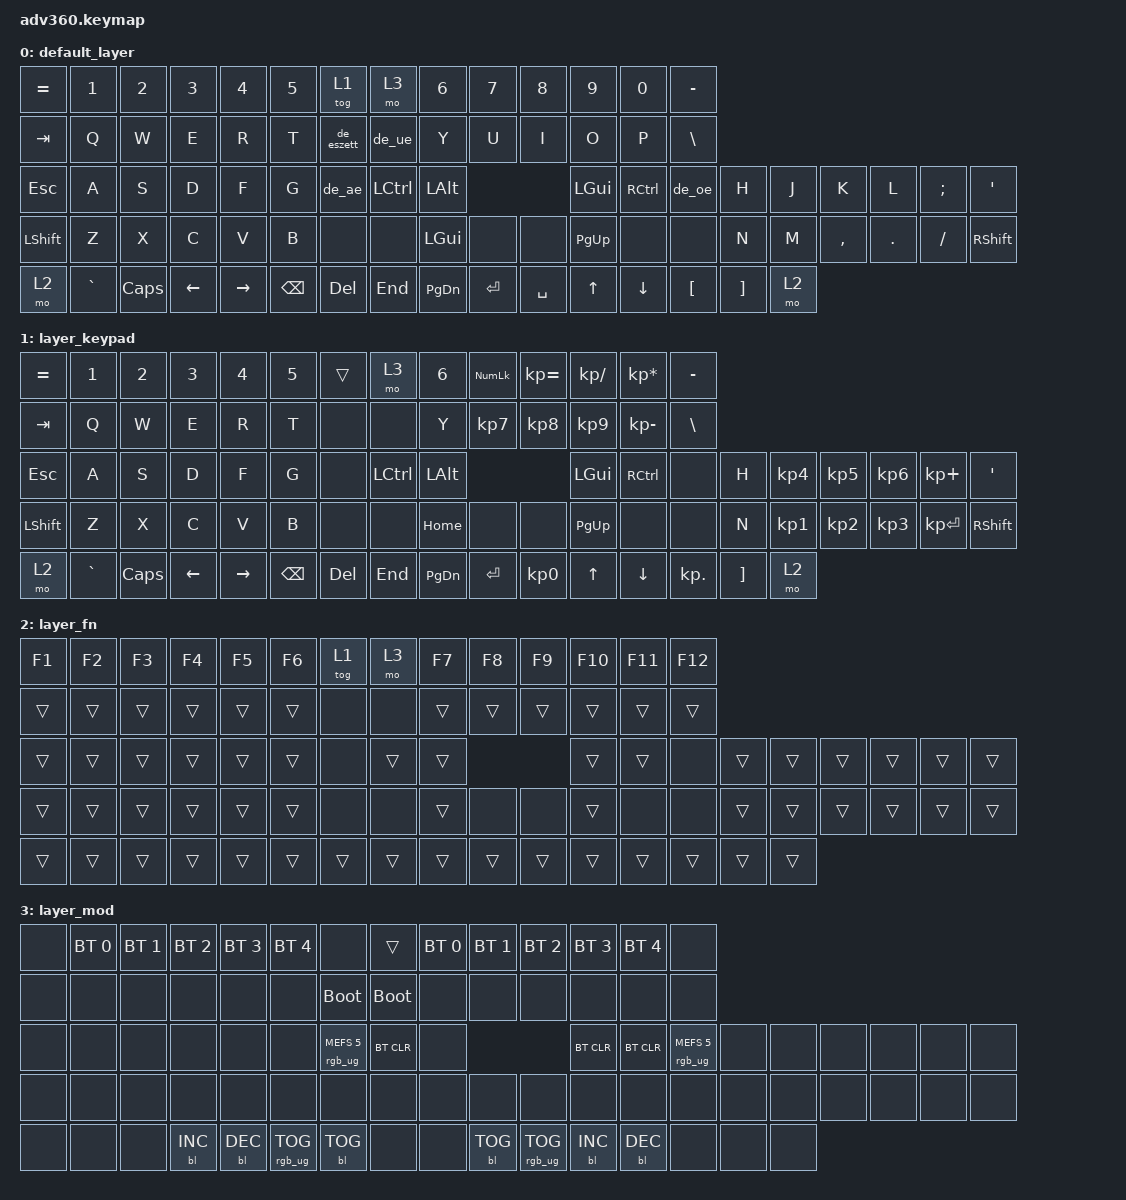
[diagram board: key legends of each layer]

/*
 * Copyright (c) 2020 The ZMK Contributors
 *
 * SPDX-License-Identifier: MIT
 */


/* THIS FILE WAS GENERATED!
 *
 * This file was generated automatically. You may or may not want to
 * edit it directly.
 */

#include <behaviors.dtsi>
#include <dt-bindings/zmk/keys.h>
#include <dt-bindings/zmk/bt.h>
#include <dt-bindings/zmk/rgb.h>
#include <dt-bindings/zmk/backlight.h>
#define HOST_OS 2
#include "zmk-nodefree-config-main/helper.h"

#define ___ &trans

#define DEF 0  // layer shortcuts, must match order in which they are defined below
#define KEY 1
#define FN  2
#define MOD 3


/* custom behaviors */

// homerow mods
ZMK_BEHAVIOR(hm, hold_tap,
    flavor = "tap-preferred";
    tapping-term-ms = <200>;
    quick-tap-ms = <175>;
    global-quick-tap;
    bindings = <&kp>, <&kp>;
)
ZMK_UNICODE_PAIR( de_ae,   N0, N0,  E, N4,   N0, N0,  C, N4 )
ZMK_UNICODE_PAIR( de_oe,   N0, N0,  F, N6,   N0, N0,  D, N6 )
ZMK_UNICODE_PAIR( de_ue,   N0, N0,  F,  C,   N0, N0,  D,  C )
ZMK_UNICODE_SINGLE( de_eszett,  N0, N0,  D,  F)

/* keymap */


ZMK_LAYER(default_layer,
 &kp EQUAL     &kp N1    &kp N2    &kp N3     &kp N4    &kp N5             &tog 1      &mo 3     &kp N6     &kp N7     &kp N8     &kp N9     &kp N0  &kp MINUS
   &kp TAB      &kp Q     &kp W     &kp E      &kp R     &kp T              &de_eszett      &de_ue      &kp Y      &kp U      &kp I      &kp O      &kp P   &kp BSLH
   &kp ESC      &kp A     &kp S     &kp D      &kp F     &kp G              &de_ae  &kp LCTRL   &kp LALT                         &kp LGUI  &kp RCTRL      &de_oe     &kp H   &kp J      &kp K    &kp L  &kp SEMI    &kp SQT
 &kp LSHFT      &kp Z     &kp X     &kp C      &kp V     &kp B              &none      &none   &kp LGUI      &none      &none  &kp PG_UP      &none      &none     &kp N   &kp M  &kp COMMA  &kp DOT  &kp FSLH  &kp RSHFT
     &mo 2  &kp GRAVE  &kp CAPS  &kp LEFT  &kp RIGHT  &kp BSPC            &kp DEL    &kp END  &kp PG_DN  &kp ENTER  &kp SPACE     &kp UP   &kp DOWN   &kp LBKT  &kp RBKT   &mo 2
)

ZMK_LAYER(layer_keypad,
 &kp EQUAL     &kp N1    &kp N2    &kp N3     &kp N4    &kp N5             &trans      &mo 3     &kp N6  &kp KP_NUM  &kp KP_EQUAL  &kp KP_DIVIDE  &kp KP_MULTIPLY   &kp MINUS
   &kp TAB      &kp Q     &kp W     &kp E      &kp R     &kp T              &none      &none      &kp Y   &kp KP_N7     &kp KP_N8      &kp KP_N9     &kp KP_MINUS    &kp BSLH
   &kp ESC      &kp A     &kp S     &kp D      &kp F     &kp G              &none  &kp LCTRL   &kp LALT                                 &kp LGUI        &kp RCTRL       &none     &kp H  &kp KP_N4  &kp KP_N5  &kp KP_N6   &kp KP_PLUS    &kp SQT
 &kp LSHFT      &kp Z     &kp X     &kp C      &kp V     &kp B              &none      &none   &kp HOME       &none         &none      &kp PG_UP            &none       &none     &kp N  &kp KP_N1  &kp KP_N2  &kp KP_N3  &kp KP_ENTER  &kp RSHFT
     &mo 2  &kp GRAVE  &kp CAPS  &kp LEFT  &kp RIGHT  &kp BSPC            &kp DEL    &kp END  &kp PG_DN   &kp ENTER     &kp KP_N0         &kp UP         &kp DOWN  &kp KP_DOT  &kp RBKT      &mo 2
)

ZMK_LAYER(layer_fn,
 &kp F1  &kp F2  &kp F3  &kp F4  &kp F5  &kp F6            &tog 1   &mo 3  &kp F7  &kp F8  &kp F9  &kp F10  &kp F11  &kp F12
 &trans  &trans  &trans  &trans  &trans  &trans             &none   &none  &trans  &trans  &trans   &trans   &trans   &trans
 &trans  &trans  &trans  &trans  &trans  &trans             &none  &trans  &trans                   &trans   &trans    &none  &trans  &trans  &trans  &trans  &trans  &trans
 &trans  &trans  &trans  &trans  &trans  &trans             &none   &none  &trans   &none   &none   &trans    &none    &none  &trans  &trans  &trans  &trans  &trans  &trans
 &trans  &trans  &trans  &trans  &trans  &trans            &trans  &trans  &trans  &trans  &trans   &trans   &trans   &trans  &trans  &trans
)

ZMK_LAYER(layer_mod,
  &none  &bt BT_SEL 0  &bt BT_SEL 1  &bt BT_SEL 2  &bt BT_SEL 3     &bt BT_SEL 4                             &none       &trans  &bt BT_SEL 0  &bt BT_SEL 1     &bt BT_SEL 2  &bt BT_SEL 3  &bt BT_SEL 4                   &none
  &none         &none         &none         &none         &none            &none                       &bootloader  &bootloader         &none         &none            &none         &none         &none                   &none
  &none         &none         &none         &none         &none            &none            &rgb_ug RGB_MEFS_CMD 5   &bt BT_CLR         &none                                   &bt BT_CLR    &bt BT_CLR  &rgb_ug RGB_MEFS_CMD 5   &none   &none   &none   &none   &none   &none
  &none         &none         &none         &none         &none            &none                             &none        &none         &none         &none            &none         &none         &none                   &none   &none   &none   &none   &none   &none   &none
  &none         &none         &none    &bl BL_INC    &bl BL_DEC  &rgb_ug RGB_TOG                        &bl BL_TOG        &none         &none    &bl BL_TOG  &rgb_ug RGB_TOG    &bl BL_INC    &bl BL_DEC                   &none   &none   &none
)
